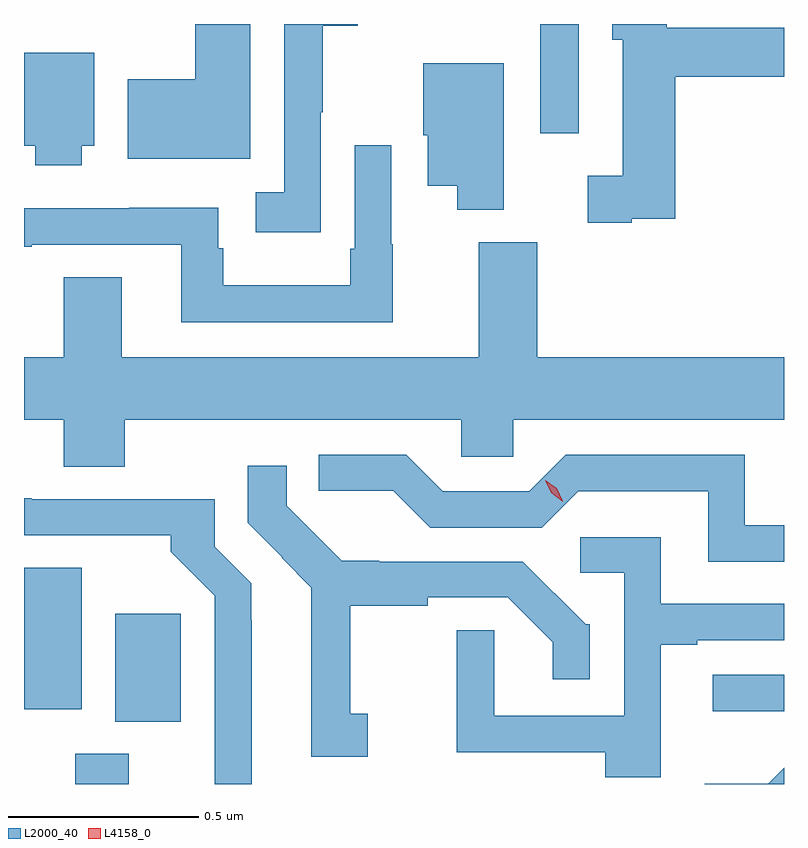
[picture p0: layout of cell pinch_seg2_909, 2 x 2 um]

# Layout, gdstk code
import gdstk
lib = gdstk.Library(unit=1e-6, precision=1e-09)
def R(c, l, rs):  # rectangles x0, y0, x1, y1
    for r in rs: c.add(gdstk.rectangle(r[:2], r[2:], *l))
def P(c, l, *ps):  # polygons
    for p in ps: c.add(gdstk.Polygon(p, *l))
L2000_40 = (2000, 40)
L4158_0 = (4158, 0)

pinch_seg2_909 = lib.new_cell('pinch_seg2_909')
R(pinch_seg2_909, L2000_40, [(382.139,596.061,382.279,596.14), (382.244,596.225,382.417,596.509), (383.817,596.253,384.004,596.349), (382.004,596.258,382.156,596.63), (383.363,597.774,383.464,598.061)])
P(pinch_seg2_909, L2000_40, [(382.6,598.061),(382.454,598.061),(382.454,597.916),(382.277,597.916),(382.277,597.707),(382.6,597.707)],
  [(382.785,597.829),(382.79,597.829),(382.79,598.056),(382.882,598.056),(382.882,598.061),(382.689,598.061),(382.689,597.618),(382.614,597.618),(382.614,597.513),(382.785,597.513)],
  [(383.603,597.548),(383.718,597.548),(383.718,597.922),(384.004,597.922),(384.004,598.051),(383.696,598.051),(383.696,598.061),(383.552,598.061),(383.552,598.02),(383.579,598.02),(383.579,597.662),(383.487,597.662),(383.487,597.538),(383.603,597.538)],
  [(382.156,597.74),(382.189,597.74),(382.189,597.985),(382.004,597.985),(382.004,597.74),(382.034,597.74),(382.034,597.689),(382.156,597.689)],
  [(383.266,597.958),(383.054,597.958),(383.054,597.768),(383.066,597.768),(383.066,597.635),(383.144,597.635),(383.144,597.572),(383.266,597.572)],
  [(382.974,597.482),(382.971,597.482),(382.971,597.742),(382.875,597.742),(382.875,597.469),(382.863,597.469),(382.863,597.373),(382.528,597.373),(382.528,597.471),(382.515,597.471),(382.515,597.577),(382.281,597.577),(382.281,597.576),(382.004,597.576),(382.004,597.475),(382.025,597.475),(382.025,597.48),(382.418,597.48),(382.418,597.276),(382.974,597.276)],
  [(382.269,597.02),(383.154,597.02),(383.154,596.922),(383.292,596.922),(383.292,597.02),(384.004,597.02),(384.004,597.184),(383.354,597.184),(383.354,597.487),(383.201,597.487),(383.201,597.184),(382.261,597.184),(382.261,597.395),(382.109,597.395),(382.109,597.184),(382.004,597.184),(382.004,597.02),(382.109,597.02),(382.109,596.896),(382.269,596.896)],
  [(384.004,596.742),(383.901,596.742),(383.901,596.928),(383.43,596.928),(383.334,596.832),(383.106,596.832),(383.01,596.928),(382.78,596.928),(382.78,596.833),(382.976,596.833),(383.073,596.736),(383.367,596.736),(383.463,596.832),(383.805,596.832),(383.805,596.646),(384.004,596.646)],
  [(382.909,596.246),(382.862,596.246),(382.862,596.53),(383.066,596.53),(383.066,596.553),(383.277,596.553),(383.396,596.434),(383.396,596.337),(383.493,596.337),(383.493,596.481),(383.482,596.481),(383.317,596.646),(382.939,596.646),(382.939,596.648),(382.84,596.648),(382.695,596.793),(382.695,596.899),(382.593,596.899),(382.593,596.749),(382.683,596.658),(382.682,596.657),(382.76,596.578),(382.76,596.133),(382.909,596.133)],
  [(382.603,596.492),(382.602,596.492),(382.602,596.589),(382.506,596.685),(382.506,596.811),(382.025,596.811),(382.025,596.813),(382.004,596.813),(382.004,596.715),(382.39,596.715),(382.39,596.672),(382.506,596.556),(382.506,596.061),(382.603,596.061)],
  [(383.68,596.427),(383.776,596.427),(383.776,596.439),(384.004,596.439),(384.004,596.535),(383.679,596.535),(383.679,596.711),(383.468,596.711),(383.468,596.617),(383.583,596.617),(383.583,596.241),(383.242,596.241),(383.242,596.465),(383.143,596.465),(383.143,596.145),(383.534,596.145),(383.534,596.079),(383.68,596.079)],
  [(384.004,596.104),(383.962,596.062),(383.796,596.062),(383.796,596.061),(384.004,596.061)])
P(pinch_seg2_909, L4158_0, [(383.421,596.805),(383.391,596.827),(383.376,596.861),(383.376,596.861),(383.376,596.861),(383.406,596.839),(383.422,596.805),(383.422,596.805)])

lib.write_gds('pinch_seg2_909.gds')
